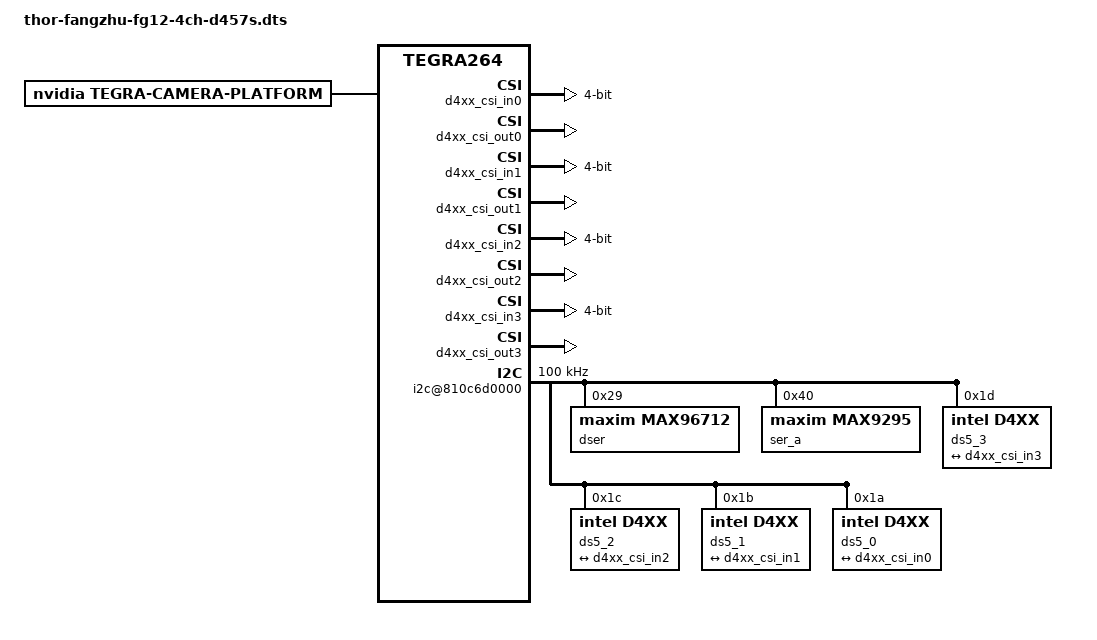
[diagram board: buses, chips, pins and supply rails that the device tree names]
// SPDX-License-Identifier: GPL-2.0-only
// SPDX-FileCopyrightText: Copyright (c) 2018-2026, REALSENSEAI.  All rights reserved.

/dts-v1/;
/plugin/;

#include <dt-bindings/gpio/tegra264-gpio.h>

#define STR_HELPER(x)         #x
#define STR(x)                STR_HELPER(x)

// // I2C-9
// #define DES0_I2C_BUS_NAME     "9"
// #define DES0_I2C_BUS          i2c@810c6a0000
// #define DES0_PORT_INDEX       2
// #define DES0_TEGRA_SINTERFACE "serial_c"
// I2C-12
#define DES0_I2C_BUS_NAME     "12"
#define DES0_I2C_BUS          i2c@810c6d0000
#define DES0_PORT_INDEX       0
#define DES0_TEGRA_SINTERFACE "serial_a"

#define DES0_MIPI_LANES       4
#define DES0_MIPI_LANES_STR   STR(DES0_MIPI_LANES)

#define SER_MIPI_LANES        2
#define SER_MIPI_LANES_STR    STR(SER_MIPI_LANES)

// 2Gbps, 125000000 pixel/s, clock 250MHz (4 lanes), 500MHz (2 lanes), 1GHz (1 lane)
// 3Gbps, 187500000 pixel/s, clock 375MHz (4 lanes), 750MHz (2 lanes), 1.5GHz (1 lane)
// 4Gbps, 250000000 pixel/s, clock 500MHz (4 lanes), 1GHz (2 lanes), 2GHz (1 lane)
// 6Gbps, 375000000 pixel/s, clock 750MHz (4 lanes), 1.5GHz (2 lanes), 3GHz (1 lane)
#define SERDES_PIX_CLK_HZ     "187500000"

/* camera control gpio definitions */
/ {
	overlay-name = "Thor I2C-12 FG12-4CH D457S";
	jetson-header-name = "Jetson 22pin CSI Connector";
	compatible = "nvidia,p4071-0000+p3834-0008", "nvidia,p3834-0008", "nvidia,tegra264";

	fragment@0 {
		target-path = "/";
		__overlay__ {
			tegra-capture-vi {
				num-channels = <4>;
				ports {
					status = "okay";
					#address-cells = <1>;
					#size-cells = <0>;
					port@0 {
						status = "okay";
						reg = <0>;
						d4xx_vi_in0: endpoint {
							status = "okay";
							vc-id = <0>;
							port-index = <DES0_PORT_INDEX>;
							bus-width = <DES0_MIPI_LANES>;
							remote-endpoint = <&d4xx_csi_out0>;
						};
					};
					port@1 {
						status = "okay";
						reg = <1>;
						d4xx_vi_in1: endpoint {
							status = "okay";
							vc-id = <1>;
							port-index = <DES0_PORT_INDEX>;
							bus-width = <DES0_MIPI_LANES>;
							remote-endpoint = <&d4xx_csi_out1>;
						};
					};
					port@2 {
						status = "okay";
						reg = <2>;
						d4xx_vi_in2: endpoint {
							status = "okay";
							vc-id = <2>;
							port-index = <DES0_PORT_INDEX>;
							bus-width = <DES0_MIPI_LANES>;
							remote-endpoint = <&d4xx_csi_out2>;
						};
					};
					port@3 {
						status = "okay";
						reg = <3>;
						d4xx_vi_in3: endpoint {
							status = "okay";
							vc-id = <3>;
							port-index = <DES0_PORT_INDEX>;
							bus-width = <DES0_MIPI_LANES>;
							remote-endpoint = <&d4xx_csi_out3>;
						};
					};
				};
			};
			tegra-camera-platform {
				compatible = "nvidia, tegra-camera-platform";
				status = "okay";
				num_csi_lanes = <DES0_MIPI_LANES>;
				max_lane_speed = <1500000>;
				min_bits_per_pixel = <8>;
				vi_peak_byte_per_pixel = <2>;
				vi_bw_margin_pct = <25>;
				max_pixel_rate = <160000>;
				isp_peak_byte_per_pixel = <5>;
				isp_bw_margin_pct = <25>;
				modules {
					status = "okay";
					module0 {
						status = "okay";
						badge = "d4xx_depth";
						position = "left";
						orientation = "1";
						drivernode0 {
							status = "okay";
							pcl_id = "v4l2_sensor";
							devname = "DS5 mux 12-001a";
							sysfs-device-tree = "/sys/firmware/devicetree/base/bus@0/i2c@810c6d0000/ds5@1a";
						};
					};
					module1 {
						status = "okay";
						badge = "d4xx_rgb";
						position = "left";
						orientation = "1";
						drivernode0 {
							status = "okay";
							pcl_id = "v4l2_sensor";
							devname = "DS5 mux 12-001b";
							sysfs-device-tree = "/sys/firmware/devicetree/base/bus@0/i2c@810c6d0000/ds5@1b";
						};
					};
					module2 {
						status = "okay";
						badge = "d4xx_Y8";
						position = "left";
						orientation = "1";
						drivernode0 {
							status = "okay";
							pcl_id = "v4l2_sensor";
							devname = "DS5 mux 12-001c";
							sysfs-device-tree = "/sys/firmware/devicetree/base/bus@0/i2c@810c6d0000/ds5@1c";
						};
					};
					module3 {
						status = "okay";
						badge = "d4xx_imu";
						position = "left";
						orientation = "1";
						drivernode0 {
							status = "okay";
							pcl_id = "v4l2_sensor";
							devname = "DS5 mux 12-001d";
							sysfs-device-tree = "/sys/firmware/devicetree/base/bus@0/i2c@810c6d0000/ds5@1d";
						};
					};
				};
			};
			bus@0 {
				host1x@8181200000 {
					nvcsi@8188000000 {
						num-channels = <4>;
						channel@0 {
							status = "okay";
							reg = <0>;
							ports {
								status = "okay";
								#address-cells = <1>;
								#size-cells = <0>;
								port@0 {
									status = "okay";
									reg = <0>;
									d4xx_csi_in0: endpoint@0 {
										status = "okay";
										port-index = <DES0_PORT_INDEX>;
										bus-width = <DES0_MIPI_LANES>;
										remote-endpoint = <&ds5_0_out>;
									};
								};
								port@1 {
									status = "okay";
									reg = <1>;
									d4xx_csi_out0: endpoint@1 {
										status = "okay";
										remote-endpoint = <&d4xx_vi_in0>;
									};
								};
							};
						};
						channel@1 {
							status = "okay";
							reg = <1>;
							ports {
								status = "okay";
								#address-cells = <1>;
								#size-cells = <0>;
								port@0 {
									status = "okay";
									reg = <0>;
									d4xx_csi_in1: endpoint@2 {
										status = "okay";
										port-index = <DES0_PORT_INDEX>;
										bus-width = <DES0_MIPI_LANES>;
										remote-endpoint = <&ds5_1_out>;
									};
								};
								port@1 {
									status = "okay";
									reg = <1>;
									d4xx_csi_out1: endpoint@3 {
										status = "okay";
										remote-endpoint = <&d4xx_vi_in1>;
									};
								};
							};
						};
						channel@2 {
							status = "okay";
							reg = <2>;
							ports {
								status = "okay";
								#address-cells = <1>;
								#size-cells = <0>;
								port@0 {
									status = "okay";
									reg = <0>;
									d4xx_csi_in2: endpoint@4 {
										status = "okay";
										port-index = <DES0_PORT_INDEX>;
										bus-width = <DES0_MIPI_LANES>;
										remote-endpoint = <&ds5_2_out>;
									};
								};
								port@1 {
									status = "okay";
									reg = <1>;
									d4xx_csi_out2: endpoint@5 {
										status = "okay";
										remote-endpoint = <&d4xx_vi_in2>;
									};
								};
							};
						};
						channel@3 {
							status = "okay";
							reg = <3>;
							ports {
								status = "okay";
								#address-cells = <1>;
								#size-cells = <0>;
								port@0 {
									status = "okay";
									reg = <0>;
									d4xx_csi_in3: endpoint@6 {
										status = "okay";
										port-index = <DES0_PORT_INDEX>;
										bus-width = <DES0_MIPI_LANES>;
										remote-endpoint = <&ds5_3_out>;
									};
								};
								port@1 {
									status = "okay";
									reg = <1>;
									d4xx_csi_out3: endpoint@7 {
										status = "okay";
										remote-endpoint = <&d4xx_vi_in3>;
									};
								};
							};
						};
					};
				};

				i2c@810c6d0000 {
					clock-frequency = <100000>;

					dser: max96712@29 {
						status = "okay";
						reg = <0x29>;
						compatible = "maxim,max96712";
						csi-mode = "2x4";
						link-mask = <0x1>;
						channel = "a";
						lane_cnt = <DES0_MIPI_LANES>;
						//force_clk0;
						fangzhu,fg12-reverse-lane-polarity;
						fangzhu,fg12-poc-enable;
						/* <serializer-vc deserializer-vc> */
						maxim,link0-vc-remap = <0 0>, <1 1>, <2 2>, <3 3>;
						// maxim,link1-vc-remap = <0 4>, <1 5>, <2 6>, <3 7>;
						// maxim,link2-vc-remap = <0 8>, <1 9>, <2 10>, <3 11>;
						// maxim,link3-vc-remap = <0 12>, <1 13>, <2 14>, <3 15>;
					};

					ser_a: max9295_a@40 {
						status = "okay";
						compatible = "maxim,max9295";
						reg = <0x40>;
						maxim,gmsl-dser-device = <&dser>;
					};

					ds5_3: ds5@1d {
						status = "okay";
						compatible = "intel,d4xx";
						reg = <0x1d>;
						def-addr = <0x10>;
						override_reg = <0x1a>;
						use_sensor_mode_id = "true";
						cam-type = "IMU";
						nvidia,gmsl-ser-device = <&ser_a>;
						nvidia,gmsl-dser-device = <&dser>;
						ports {
							#address-cells = <1>;
							#size-cells = <0>;
							port@0 {
								reg = <0>;
								ds5_3_out: endpoint {
									vc-id = <3>;
									port-index = <DES0_PORT_INDEX>;
									bus-width = <SER_MIPI_LANES>;
									remote-endpoint = <&d4xx_csi_in3>;
								};
							};
						};
						mode0 {
							pixel_t = "grey_y16";
							num_lanes = DES0_MIPI_LANES_STR;
							csi_pixel_bit_depth = "16";
							active_w = "640";
							active_h = "480";
							tegra_sinterface = DES0_TEGRA_SINTERFACE;
							mclk_khz = "24000";
							pix_clk_hz = "74250000";
							serdes_pix_clk_hz = SERDES_PIX_CLK_HZ;
							line_length = "640"; /* 2200 */
							embedded_metadata_height = "0";
						};
						gmsl-link {
							src-csi-port = "b";
							dst-csi-port = "a";
							serdes-csi-link = "a";
							csi-mode = "1x4";
							st-vc = <0>;
							vc-id = <3>;
							num-lanes = <SER_MIPI_LANES>;
						};
					};

					ds5_2: ds5@1c {
						status = "okay";
						compatible = "intel,d4xx";
						reg = <0x1c>;
						def-addr = <0x10>;
						override_reg = <0x1a>;
						use_sensor_mode_id = "true";
						cam-type = "Y8";
						nvidia,gmsl-ser-device = <&ser_a>;
						nvidia,gmsl-dser-device = <&dser>;
						ports {
							#address-cells = <1>;
							#size-cells = <0>;
							port@0 {
								reg = <0>;
								ds5_2_out: endpoint {
									vc-id = <2>;
									port-index = <DES0_PORT_INDEX>;
									bus-width = <SER_MIPI_LANES>;
									remote-endpoint = <&d4xx_csi_in2>;
								};
							};
						};
						/* mode0: Y8, mode1: depth D16 */
						mode0 {
							pixel_t = "grey_y16";
							num_lanes = DES0_MIPI_LANES_STR;
							csi_pixel_bit_depth = "16";
							active_w = "1280";
							active_h = "720";
							tegra_sinterface = DES0_TEGRA_SINTERFACE;
							mclk_khz = "24000";
							pix_clk_hz = "74250000";
							serdes_pix_clk_hz = SERDES_PIX_CLK_HZ;
							line_length = "1280"; /* 2200 */
							embedded_metadata_height = "1";
						};
						gmsl-link {
							src-csi-port = "b";
							dst-csi-port = "a";
							serdes-csi-link = "a";
							csi-mode = "1x4";
							st-vc = <0>;
							vc-id = <2>;
							num-lanes = <SER_MIPI_LANES>;
						};
					};

					ds5_1: ds5@1b {
						status = "okay";
						compatible = "intel,d4xx";
						reg = <0x1b>;
						def-addr = <0x10>;
						override_reg = <0x1a>;
						use_sensor_mode_id = "true";
						cam-type = "RGB";
						nvidia,gmsl-ser-device = <&ser_a>;
						nvidia,gmsl-dser-device = <&dser>;
						ports {
							#address-cells = <1>;
							#size-cells = <0>;
							port@0 {
								reg = <0>;
								ds5_1_out: endpoint {
									vc-id = <1>;
									port-index = <DES0_PORT_INDEX>;
									bus-width = <SER_MIPI_LANES>;
									remote-endpoint = <&d4xx_csi_in1>;
								};
							};
						};
						mode0 {
							pixel_t = "grey_y16";
							num_lanes = DES0_MIPI_LANES_STR;
							csi_pixel_bit_depth = "16";
							active_w = "1920";
							active_h = "1080";
							tegra_sinterface = DES0_TEGRA_SINTERFACE;
							mclk_khz = "24000";
							pix_clk_hz = "74250000";
							serdes_pix_clk_hz = SERDES_PIX_CLK_HZ;
							line_length = "1920"; /* 2200 */
							embedded_metadata_height = "1";
						};
						gmsl-link {
							src-csi-port = "b";
							dst-csi-port = "a";
							serdes-csi-link = "a";
							csi-mode = "1x4";
							st-vc = <0>;
							vc-id = <1>;
							num-lanes = <SER_MIPI_LANES>;
						};
					};

					ds5_0: ds5@1a {
						status = "okay";
						compatible = "intel,d4xx";
						reg = <0x1a>;
						def-addr = <0x10>;
						use_sensor_mode_id = "true";
						cam-type = "Depth";
						nvidia,gmsl-ser-device = <&ser_a>;
						nvidia,gmsl-dser-device = <&dser>;
						ports {
							#address-cells = <1>;
							#size-cells = <0>;
							port@0 {
								reg = <0>;
								ds5_0_out: endpoint {
									vc-id = <0>;
									port-index = <DES0_PORT_INDEX>;
									bus-width = <SER_MIPI_LANES>;
									remote-endpoint = <&d4xx_csi_in0>;
								};
							};
						};
						mode0 {
							pixel_t = "grey_y16";
							num_lanes = DES0_MIPI_LANES_STR;
							csi_pixel_bit_depth = "16";
							active_w = "1280";
							active_h = "720";
							tegra_sinterface = DES0_TEGRA_SINTERFACE;
							mclk_khz = "24000";
							pix_clk_hz = "74250000";
							serdes_pix_clk_hz = SERDES_PIX_CLK_HZ;
							line_length = "1280"; /* 2200 */
							embedded_metadata_height = "1";
						};
						gmsl-link {
							src-csi-port = "b";
							dst-csi-port = "a";
							serdes-csi-link = "a";
							csi-mode = "1x4";
							st-vc = <0>;
							vc-id = <0>;
							num-lanes = <SER_MIPI_LANES>;
						};
					};
				};
			};
		};
	};
};
